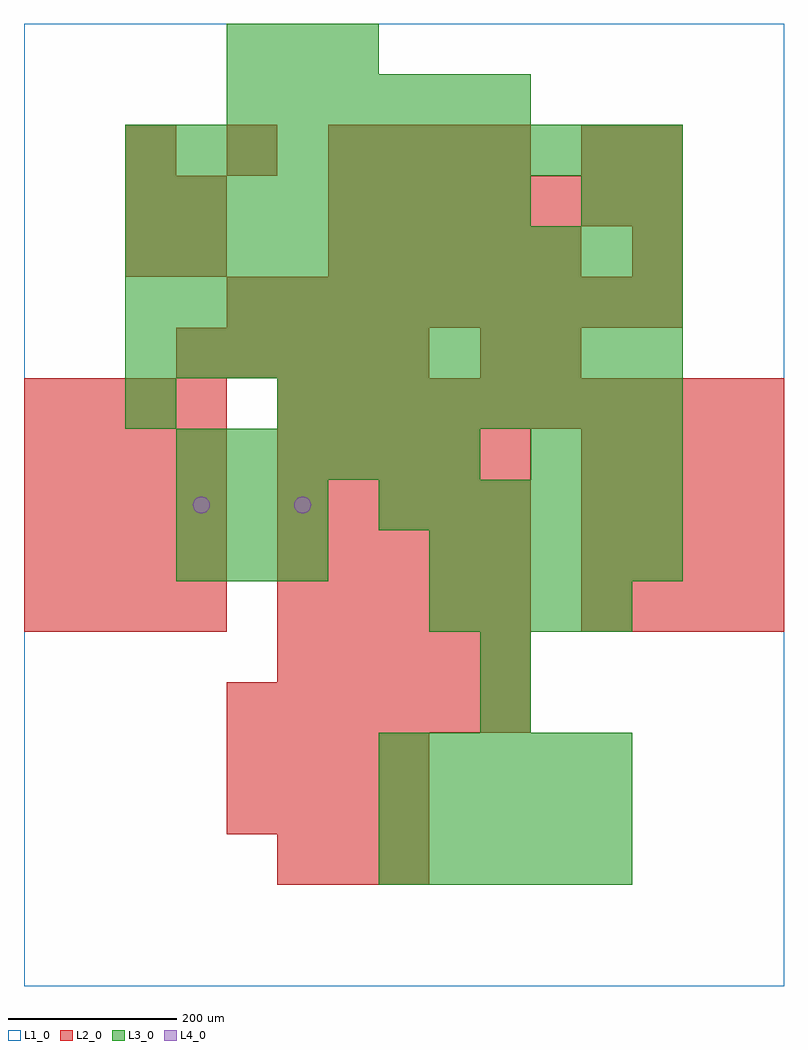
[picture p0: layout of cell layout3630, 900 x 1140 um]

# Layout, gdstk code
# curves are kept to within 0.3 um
import gdstk
lib = gdstk.Library(unit=1e-6, precision=1e-09)
def R(c, l, rs):  # rectangles x0, y0, x1, y1
    for r in rs: c.add(gdstk.rectangle(r[:2], r[2:], *l))
def A(c, l, x, y, w, h, nx, ny, dx, dy):  # array of equal rectangles
    R(c, l, [(x+i*dx, y+j*dy, x+i*dx+w, y+j*dy+h) for i in range(nx) for j in range(ny)])
def P(c, l, *ps):  # polygons
    for p in ps: c.add(gdstk.Polygon(p, *l))
L1_0 = (1, 0)
L2_0 = (2, 0)
L3_0 = (3, 0)
L4_0 = (4, 0)

layout3630 = lib.new_cell('layout3630')
R(layout3630, L1_0, [(0,0,900,1140)])
A(layout3630, L2_0, 300, 120, 60, 60, 3, 1, 60, 0)
A(layout3630, L2_0, 240, 180, 60, 60, 4, 2, 60, 60)
A(layout3630, L2_0, 240, 300, 60, 60, 6, 1, 60, 0)
A(layout3630, L2_0, 300, 360, 60, 60, 5, 5, 60, 60)
A(layout3630, L2_0, 0, 420, 60, 60, 4, 5, 60, 60)
A(layout3630, L2_0, 660, 420, 60, 60, 4, 4, 60, 60)
A(layout3630, L2_0, 300, 660, 60, 60, 10, 1, 60, 0)
A(layout3630, L2_0, 180, 720, 60, 60, 5, 1, 60, 0)
A(layout3630, L2_0, 240, 780, 60, 60, 9, 1, 60, 0)
A(layout3630, L2_0, 360, 840, 60, 60, 5, 1, 60, 0)
A(layout3630, L2_0, 360, 900, 60, 60, 7, 1, 60, 0)
A(layout3630, L2_0, 120, 960, 60, 60, 3, 1, 120, 0)
A(layout3630, L2_0, 420, 960, 60, 60, 3, 1, 60, 0)
R(layout3630, L2_0, [(540,720,600,780), (600,720,660,780), (120,840,180,900), (180,840,240,900), (720,840,780,900), (120,900,180,960), (180,900,240,960), (660,960,720,1020), (720,960,780,1020)])
A(layout3630, L3_0, 420, 120, 60, 60, 5, 3, 60, 60)
A(layout3630, L3_0, 480, 420, 60, 60, 4, 1, 60, 0)
A(layout3630, L3_0, 180, 480, 60, 60, 3, 2, 60, 60)
A(layout3630, L3_0, 480, 480, 60, 60, 5, 1, 60, 0)
A(layout3630, L3_0, 420, 540, 60, 60, 6, 1, 60, 0)
A(layout3630, L3_0, 180, 600, 60, 60, 6, 1, 60, 0)
A(layout3630, L3_0, 600, 600, 60, 60, 3, 1, 60, 0)
A(layout3630, L3_0, 300, 660, 60, 60, 8, 1, 60, 0)
A(layout3630, L3_0, 120, 720, 60, 60, 11, 3, 60, 60)
A(layout3630, L3_0, 120, 900, 60, 60, 8, 1, 60, 0)
A(layout3630, L3_0, 120, 960, 60, 60, 11, 1, 60, 0)
A(layout3630, L3_0, 240, 1020, 60, 60, 6, 1, 60, 0)
A(layout3630, L3_0, 240, 1080, 60, 60, 3, 1, 60, 0)
R(layout3630, L3_0, [(540,300,600,360), (540,360,600,420), (120,660,180,720), (660,900,720,960), (720,900,780,960)])
P(layout3630, L4_0, [(220,570),(219.239,573.827),(217.071,577.071),(213.827,579.239),(210,580),(206.173,579.239),(202.929,577.071),(200.761,573.827),(200,570),(200.761,566.173),(202.929,562.929),(206.173,560.761),(210,560),(213.827,560.761),(217.071,562.929),(219.239,566.173)],
  [(340,570),(339.239,573.827),(337.071,577.071),(333.827,579.239),(330,580),(326.173,579.239),(322.929,577.071),(320.761,573.827),(320,570),(320.761,566.173),(322.929,562.929),(326.173,560.761),(330,560),(333.827,560.761),(337.071,562.929),(339.239,566.173)])

lib.write_gds('layout3630.gds')
